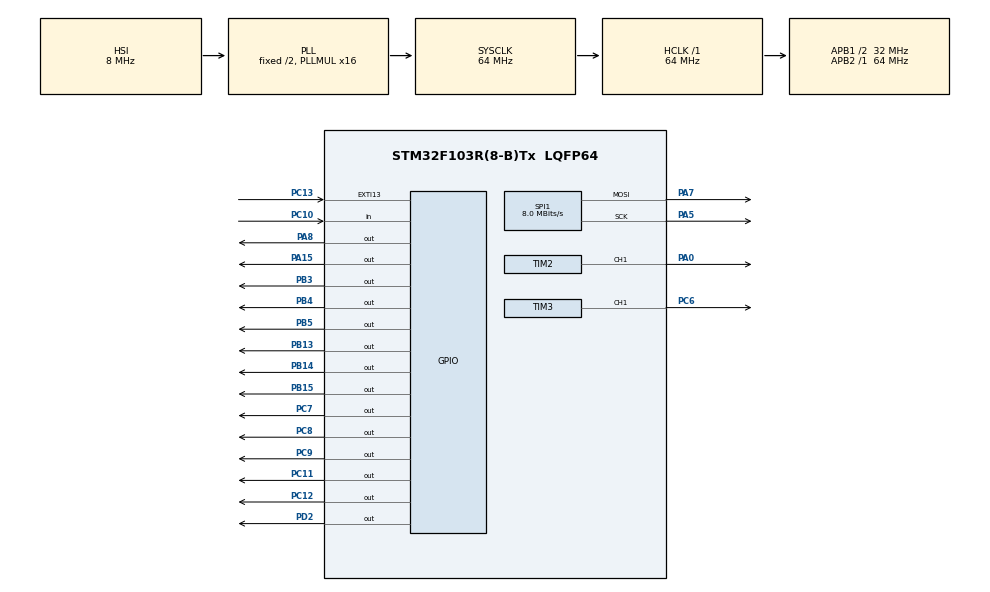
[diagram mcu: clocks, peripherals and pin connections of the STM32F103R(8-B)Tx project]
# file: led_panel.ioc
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Mcu.Family=STM32F1
Mcu.Name=STM32F103R(8-B)Tx
Mcu.Package=LQFP64
NVIC.PriorityGroup=NVIC_PRIORITYGROUP_4
NVIC.TIM2_IRQn=true\:0\:0\:false\:false\:true\:true\:true\:true
PA0-WKUP.Signal=S_TIM2_CH1_ETR
PA13.Mode=Serial_Wire
PA13.Signal=SYS_JTMS-SWDIO
PA14.Mode=Serial_Wire
PA14.Signal=SYS_JTCK-SWCLK
PA15.Signal=GPIO_Output
PA5.Mode=TX_Only_Simplex_Unidirect_Master
PA5.Signal=SPI1_SCK
PA7.Mode=TX_Only_Simplex_Unidirect_Master
PA7.Signal=SPI1_MOSI
PA8.Signal=GPIO_Output
PB13.Signal=GPIO_Output
PB14.Signal=GPIO_Output
PB15.Signal=GPIO_Output
PB3.Signal=GPIO_Output
PB4.Signal=GPIO_Output
PB5.Signal=GPIO_Output
PC10.Signal=GPIO_Input
PC11.Signal=GPIO_Output
PC12.Signal=GPIO_Output
PC13-TAMPER-RTC.Signal=GPXTI13
PC6.Signal=S_TIM3_CH1
PC7.Signal=GPIO_Output
PC8.Signal=GPIO_Output
PC9.Signal=GPIO_Output
PD2.Signal=GPIO_Output
ProjectManager.HeapSize=0x200
ProjectManager.StackSize=0x400
ProjectManager.TargetToolchain=STM32CubeIDE
RCC.AHBFreq_Value=64000000
RCC.APB1CLKDivider=RCC_HCLK_DIV2
RCC.APB1Freq_Value=32000000
RCC.APB1TimFreq_Value=64000000
RCC.APB2Freq_Value=64000000
RCC.APB2TimFreq_Value=64000000
RCC.HCLKFreq_Value=64000000
RCC.PLLMUL=RCC_PLL_MUL16
RCC.SYSCLKFreq_VALUE=64000000
RCC.SYSCLKSource=RCC_SYSCLKSOURCE_PLLCLK
RCC.USBFreq_Value=64000000
SH.S_TIM2_CH1_ETR.0=TIM2_CH1,PWM Generation1 CH1
SH.S_TIM3_CH1.0=TIM3_CH1,PWM Generation1 CH1
SPI1.BaudRatePrescaler=SPI_BAUDRATEPRESCALER_8
SPI1.CalculateBaudRate=8.0 MBits/s
SPI1.Direction=SPI_DIRECTION_2LINES
SPI1.Mode=SPI_MODE_MASTER
SPI1.VirtualType=VM_MASTER
TIM2.Channel-PWM\ Generation1\ CH1=TIM_CHANNEL_1
TIM2.Period=5
TIM2.Prescaler=6399
TIM3.Channel-PWM\ Generation1\ CH1=TIM_CHANNEL_1
TIM3.OCPolarity_1=TIM_OCPOLARITY_LOW
TIM3.Period=99
TIM3.Prescaler=63
TIM3.Pulse-PWM\ Generation1\ CH1=10
VP_TIM2_VS_ClockSourceINT.Mode=Internal
VP_TIM3_VS_ClockSourceINT.Mode=Internal
board=custom

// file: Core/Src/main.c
/* USER CODE BEGIN Header */
/**
  ******************************************************************************
  * @file           : main.c
  * @brief          : Main program body
  ******************************************************************************
  * @attention
  *
  * Copyright (c) 2024 STMicroelectronics.
  * All rights reserved.
  *
  * This software is licensed under terms that can be found in the LICENSE file
  * in the root directory of this software component.
  * If no LICENSE file comes with this software, it is provided AS-IS.
  *
  ******************************************************************************
  */
/* USER CODE END Header */
#include "main.h"
#include "renderer.h"

/* USER CODE BEGIN Includes */
#include <string.h>
/* USER CODE END Includes */

SPI_HandleTypeDef hspi1;

TIM_HandleTypeDef htim2;
TIM_HandleTypeDef htim3;

void SystemClock_Config(void);
static void MX_GPIO_Init(void);
static void MX_SPI1_Init(void);
static void MX_TIM2_Init(void);
static void MX_TIM3_Init(void);

/* USER CODE BEGIN 0 */

double DeltaTime = 0;

uint32_t last_tick_time = 0;
uint32_t get_tick_delta_time() {
    uint32_t current_time = HAL_GetTick();
    uint32_t tick_delta_time = current_time - last_tick_time;
    last_tick_time = current_time;
    return tick_delta_time;
}

bool buzzer_request = false;
uint32_t buzzer_toggle_request_time = 0;
void buzzer() {
	buzzer_request = true;
	buzzer_toggle_request_time = HAL_GetTick();
	HAL_GPIO_WritePin(GPIOA, GPIO_PIN_15, GPIO_PIN_SET);
}

__WEAK void on_ready() {}
__WEAK void on_update() {
	clear_back_buffer();
	draw_text("no program",0,0,false);
	draw_text("set!",0,8,false);
}

bool DEBUG_NUMBERS = false;

/* USER CODE END 0 */

int main(void)
{

  /* MCU Configuration--------------------------------------------------------*/

  /* Reset of all peripherals, Initializes the Flash interface and the Systick. */
  HAL_Init();

  /* Configure the system clock */
  SystemClock_Config();

  /* Initialize all configured peripherals */
  MX_GPIO_Init();
  MX_SPI1_Init();
  MX_TIM2_Init();
  MX_TIM3_Init();
  /* USER CODE BEGIN 2 */

	HAL_TIM_Base_Start_IT(&htim2);
	HAL_TIM_Base_Start_IT(&htim3);
	HAL_TIM_PWM_Start(&htim3, TIM_CHANNEL_1);
	OE_H;

  /* USER CODE END 2 */

  /* Infinite loop */
  /* USER CODE BEGIN WHILE */

	clear_back_buffer();
	on_ready();

#define UPDATE_INTERVAL_MS 10

	uint32_t debug_number_right = 0;
	uint32_t debug_number_left = 0;
	uint32_t accumulator = 0;
	while (1) {
		uint32_t delta = get_tick_delta_time();

		accumulator += delta;
		if (accumulator >= UPDATE_INTERVAL_MS) {
			DeltaTime = accumulator / 1000.0;
			debug_number_left = accumulator;
			accumulator -= UPDATE_INTERVAL_MS;

			on_event();
			if (!is_back_buffer_new){
				on_update();

				if (DEBUG_NUMBERS) {
					draw_number(debug_number_left, 0, HEIGHT-7, false);
					draw_number(debug_number_right, WIDTH-1-calculate_number_width(debug_number_right, false), HEIGHT-7, false);
				}

				is_back_buffer_new = true;
			}

		}

//		render_accumulator += delta;
//		if (render_accumulator >= RENDER_INTERVAL_MS) {
//			render_accumulator -= RENDER_INTERVAL_MS;
//			for (uint8_t row = 0; row < 8; ++row) {
//				render_buffer();
//				// each row is displayed for 1 ms
//				HAL_Delay(1);
//			}
//		}

		if (buzzer_request) {
			if (HAL_GetTick() - buzzer_toggle_request_time > 20) {
				HAL_GPIO_WritePin(GPIOA, GPIO_PIN_15, GPIO_PIN_RESET);
				buzzer_request = false;
			}
		}

		if (DEBUG_NUMBERS) {
			uint32_t current_time = HAL_GetTick();
			debug_number_right = current_time - last_tick_time;
		}

//		// this should also do the same
//		if (debug_var < UPDATE_INTERVAL_MS) {
//		//	HAL_Delay(UPDATE_INTERVAL_MS-debug_var-2);
//		}

    /* USER CODE END WHILE */

	}
}

void SystemClock_Config(void)
{
  RCC_OscInitTypeDef RCC_OscInitStruct = {0};
  RCC_ClkInitTypeDef RCC_ClkInitStruct = {0};

  /** Initializes the RCC Oscillators according to the specified parameters
  * in the RCC_OscInitTypeDef structure.
  */
  RCC_OscInitStruct.OscillatorType = RCC_OSCILLATORTYPE_HSI;
  RCC_OscInitStruct.HSIState = RCC_HSI_ON;
  RCC_OscInitStruct.HSICalibrationValue = RCC_HSICALIBRATION_DEFAULT;
  RCC_OscInitStruct.PLL.PLLState = RCC_PLL_ON;
  RCC_OscInitStruct.PLL.PLLSource = RCC_PLLSOURCE_HSI_DIV2;
  RCC_OscInitStruct.PLL.PLLMUL = RCC_PLL_MUL16;
  if (HAL_RCC_OscConfig(&RCC_OscInitStruct) != HAL_OK)
  {
    Error_Handler();
  }

  /** Initializes the CPU, AHB and APB buses clocks
  */
  RCC_ClkInitStruct.ClockType = RCC_CLOCKTYPE_HCLK|RCC_CLOCKTYPE_SYSCLK
                              |RCC_CLOCKTYPE_PCLK1|RCC_CLOCKTYPE_PCLK2;
  RCC_ClkInitStruct.SYSCLKSource = RCC_SYSCLKSOURCE_PLLCLK;
  RCC_ClkInitStruct.AHBCLKDivider = RCC_SYSCLK_DIV1;
  RCC_ClkInitStruct.APB1CLKDivider = RCC_HCLK_DIV2;
  RCC_ClkInitStruct.APB2CLKDivider = RCC_HCLK_DIV1;

  if (HAL_RCC_ClockConfig(&RCC_ClkInitStruct, FLASH_LATENCY_2) != HAL_OK)
  {
    Error_Handler();
  }
}

static void MX_SPI1_Init(void)
{

  /* SPI1 parameter configuration*/
  hspi1.Instance = SPI1;
  hspi1.Init.Mode = SPI_MODE_MASTER;
  hspi1.Init.Direction = SPI_DIRECTION_2LINES;
  hspi1.Init.DataSize = SPI_DATASIZE_8BIT;
  hspi1.Init.CLKPolarity = SPI_POLARITY_LOW;
  hspi1.Init.CLKPhase = SPI_PHASE_1EDGE;
  hspi1.Init.NSS = SPI_NSS_SOFT;
  hspi1.Init.BaudRatePrescaler = SPI_BAUDRATEPRESCALER_8;
  hspi1.Init.FirstBit = SPI_FIRSTBIT_MSB;
  hspi1.Init.TIMode = SPI_TIMODE_DISABLE;
  hspi1.Init.CRCCalculation = SPI_CRCCALCULATION_DISABLE;
  hspi1.Init.CRCPolynomial = 10;
  if (HAL_SPI_Init(&hspi1) != HAL_OK)
  {
    Error_Handler();
  }

}

static void MX_TIM2_Init(void)
{

  TIM_ClockConfigTypeDef sClockSourceConfig = {0};
  TIM_MasterConfigTypeDef sMasterConfig = {0};
  TIM_OC_InitTypeDef sConfigOC = {0};

  htim2.Instance = TIM2;
  htim2.Init.Prescaler = 6399;
  htim2.Init.CounterMode = TIM_COUNTERMODE_UP;
  htim2.Init.Period = 5;
  htim2.Init.ClockDivision = TIM_CLOCKDIVISION_DIV1;
  htim2.Init.AutoReloadPreload = TIM_AUTORELOAD_PRELOAD_DISABLE;
  if (HAL_TIM_Base_Init(&htim2) != HAL_OK)
  {
    Error_Handler();
  }
  sClockSourceConfig.ClockSource = TIM_CLOCKSOURCE_INTERNAL;
  if (HAL_TIM_ConfigClockSource(&htim2, &sClockSourceConfig) != HAL_OK)
  {
    Error_Handler();
  }
  if (HAL_TIM_PWM_Init(&htim2) != HAL_OK)
  {
    Error_Handler();
  }
  sMasterConfig.MasterOutputTrigger = TIM_TRGO_RESET;
  sMasterConfig.MasterSlaveMode = TIM_MASTERSLAVEMODE_DISABLE;
  if (HAL_TIMEx_MasterConfigSynchronization(&htim2, &sMasterConfig) != HAL_OK)
  {
    Error_Handler();
  }
  sConfigOC.OCMode = TIM_OCMODE_PWM1;
  sConfigOC.Pulse = 0;
  sConfigOC.OCPolarity = TIM_OCPOLARITY_HIGH;
  sConfigOC.OCFastMode = TIM_OCFAST_DISABLE;
  if (HAL_TIM_PWM_ConfigChannel(&htim2, &sConfigOC, TIM_CHANNEL_1) != HAL_OK)
  {
    Error_Handler();
  }
  HAL_TIM_MspPostInit(&htim2);

}

static void MX_TIM3_Init(void)
{

  TIM_ClockConfigTypeDef sClockSourceConfig = {0};
  TIM_MasterConfigTypeDef sMasterConfig = {0};
  TIM_OC_InitTypeDef sConfigOC = {0};

  htim3.Instance = TIM3;
  htim3.Init.Prescaler = 63;
  htim3.Init.CounterMode = TIM_COUNTERMODE_UP;
  htim3.Init.Period = 99;
  htim3.Init.ClockDivision = TIM_CLOCKDIVISION_DIV1;
  htim3.Init.AutoReloadPreload = TIM_AUTORELOAD_PRELOAD_DISABLE;
  if (HAL_TIM_Base_Init(&htim3) != HAL_OK)
  {
    Error_Handler();
  }
  sClockSourceConfig.ClockSource = TIM_CLOCKSOURCE_INTERNAL;
  if (HAL_TIM_ConfigClockSource(&htim3, &sClockSourceConfig) != HAL_OK)
  {
    Error_Handler();
  }
  if (HAL_TIM_PWM_Init(&htim3) != HAL_OK)
  {
    Error_Handler();
  }
  sMasterConfig.MasterOutputTrigger = TIM_TRGO_RESET;
  sMasterConfig.MasterSlaveMode = TIM_MASTERSLAVEMODE_DISABLE;
  if (HAL_TIMEx_MasterConfigSynchronization(&htim3, &sMasterConfig) != HAL_OK)
  {
    Error_Handler();
  }
  sConfigOC.OCMode = TIM_OCMODE_PWM1;
  sConfigOC.Pulse = 10;
  sConfigOC.OCPolarity = TIM_OCPOLARITY_LOW;
  sConfigOC.OCFastMode = TIM_OCFAST_DISABLE;
  if (HAL_TIM_PWM_ConfigChannel(&htim3, &sConfigOC, TIM_CHANNEL_1) != HAL_OK)
  {
    Error_Handler();
  }
  HAL_TIM_MspPostInit(&htim3);

}

static void MX_GPIO_Init(void)
{
  GPIO_InitTypeDef GPIO_InitStruct = {0};

  /* GPIO Ports Clock Enable */
  __HAL_RCC_GPIOC_CLK_ENABLE();
  __HAL_RCC_GPIOA_CLK_ENABLE();
  __HAL_RCC_GPIOB_CLK_ENABLE();
  __HAL_RCC_GPIOD_CLK_ENABLE();

  /*Configure GPIO pin Output Level */
  HAL_GPIO_WritePin(GPIOB, GPIO_PIN_13|GPIO_PIN_14|GPIO_PIN_15|GPIO_PIN_3
                          |GPIO_PIN_4|GPIO_PIN_5, GPIO_PIN_RESET);

  /*Configure GPIO pin Output Level */
  HAL_GPIO_WritePin(GPIOC, GPIO_PIN_7|GPIO_PIN_8|GPIO_PIN_9|GPIO_PIN_11
                          |GPIO_PIN_12, GPIO_PIN_RESET);

  /*Configure GPIO pin Output Level */
  HAL_GPIO_WritePin(GPIOA, GPIO_PIN_8|GPIO_PIN_15, GPIO_PIN_RESET);

  /*Configure GPIO pin Output Level */
  HAL_GPIO_WritePin(GPIOD, GPIO_PIN_2, GPIO_PIN_RESET);

  /*Configure GPIO pin : PC13 */
  GPIO_InitStruct.Pin = GPIO_PIN_13;
  GPIO_InitStruct.Mode = GPIO_MODE_IT_RISING;
  GPIO_InitStruct.Pull = GPIO_NOPULL;
  HAL_GPIO_Init(GPIOC, &GPIO_InitStruct);

  /*Configure GPIO pins : PB13 PB14 PB15 PB3
                           PB4 PB5 */
  GPIO_InitStruct.Pin = GPIO_PIN_13|GPIO_PIN_14|GPIO_PIN_15|GPIO_PIN_3
                          |GPIO_PIN_4|GPIO_PIN_5;
  GPIO_InitStruct.Mode = GPIO_MODE_OUTPUT_PP;
  GPIO_InitStruct.Pull = GPIO_NOPULL;
  GPIO_InitStruct.Speed = GPIO_SPEED_FREQ_LOW;
  HAL_GPIO_Init(GPIOB, &GPIO_InitStruct);

  /*Configure GPIO pins : PC7 PC8 PC9 PC11
                           PC12 */
  GPIO_InitStruct.Pin = GPIO_PIN_7|GPIO_PIN_8|GPIO_PIN_9|GPIO_PIN_11
                          |GPIO_PIN_12;
  GPIO_InitStruct.Mode = GPIO_MODE_OUTPUT_PP;
  GPIO_InitStruct.Pull = GPIO_NOPULL;
  GPIO_InitStruct.Speed = GPIO_SPEED_FREQ_LOW;
  HAL_GPIO_Init(GPIOC, &GPIO_InitStruct);

  /*Configure GPIO pins : PA8 PA15 */
  GPIO_InitStruct.Pin = GPIO_PIN_8|GPIO_PIN_15;
  GPIO_InitStruct.Mode = GPIO_MODE_OUTPUT_PP;
  GPIO_InitStruct.Pull = GPIO_NOPULL;
  GPIO_InitStruct.Speed = GPIO_SPEED_FREQ_LOW;
  HAL_GPIO_Init(GPIOA, &GPIO_InitStruct);

  /*Configure GPIO pin : PC10 */
  GPIO_InitStruct.Pin = GPIO_PIN_10;
  GPIO_InitStruct.Mode = GPIO_MODE_INPUT;
  GPIO_InitStruct.Pull = GPIO_NOPULL;
  HAL_GPIO_Init(GPIOC, &GPIO_InitStruct);

  /*Configure GPIO pin : PD2 */
  GPIO_InitStruct.Pin = GPIO_PIN_2;
  GPIO_InitStruct.Mode = GPIO_MODE_OUTPUT_PP;
  GPIO_InitStruct.Pull = GPIO_NOPULL;
  GPIO_InitStruct.Speed = GPIO_SPEED_FREQ_LOW;
  HAL_GPIO_Init(GPIOD, &GPIO_InitStruct);

/* USER CODE BEGIN MX_GPIO_Init_2 */

  GPIO_InitStruct.Pin = BUTTON_Pin;
  GPIO_InitStruct.Mode = GPIO_MODE_INPUT;
  GPIO_InitStruct.Pull = GPIO_PULLUP;
  HAL_GPIO_Init(BUTTON_GPIO_Port, &GPIO_InitStruct);

/* USER CODE END MX_GPIO_Init_2 */
}

void Error_Handler(void)
{
  __disable_irq();
  while (1)
  {
  }
}
